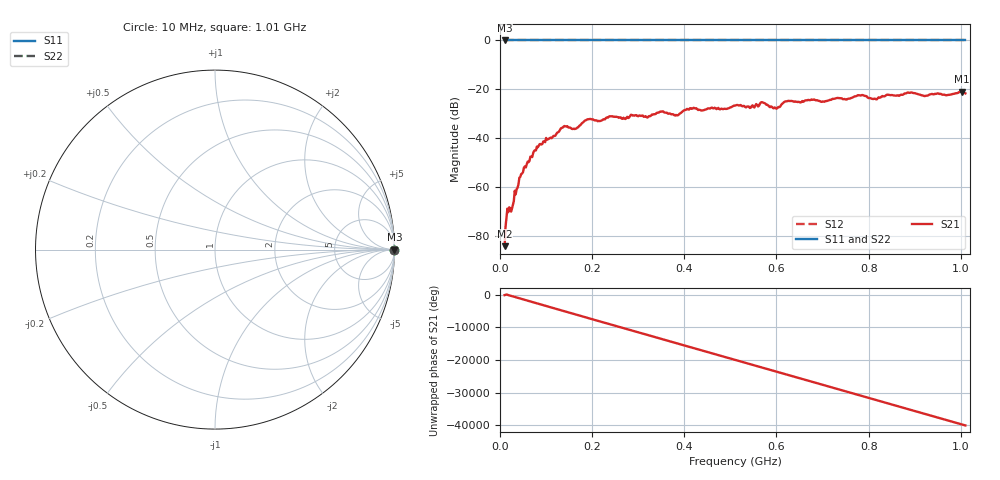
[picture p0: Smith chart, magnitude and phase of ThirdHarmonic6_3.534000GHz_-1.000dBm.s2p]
! 8/17/2025 11:37:29 AM
! C:\ANRITSUVNA\TEMP\TEMP.S2P
! CHANNEL.1
! TR.MEASUREMENT
! RAW.DATA
! RF.CORRECTION.OFF
! AVERAGING.OFF
! IF.BANDWIDTH: 5KHZ
! SWEEPTYPE:  FREQ.SWEEP(Linear)
! Reference Plane Port Info
! PORT:  PORT1  PORT2
! DISTANCE:  0  m  0  m
! TIME:  0  s  0  s
! PHASE.OFFSET:  0  deg.  0  deg.
! LOSS:  0  dB  0  dB
! REF.LOSS:  0  dB  0  dB
! REF.FREQ:  0  Hz  0  Hz
! Power Info
! POWER:  -20  dBm  -20  dBm
! EFF.POWER:  -20  dBm  -20  dBm
! SOURCE.ATTEN:  0  dB  0  dB
! TEST.ATTEN:  0  dB  0  dB
# GHZ S RI R 50.0
! FREQ.GHZ  S11RE  S11IM  S21RE  S21IM  S12RE  S12IM  S22RE  S22IM
!; PortSelection: Port_12
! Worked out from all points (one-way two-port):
!   501 points, 10 MHz to 1.01 GHz, reference 50 ohm
!   highest |S21| = -20.93 dB at 1.002 GHz (marker M1); lowest = -84.1 dB at 10 MHz (marker M2)
!   lowest |S11| = 0.0 dB at 10 MHz (marker M3)
!   |S11| at or under -10 dB: nowhere
!   |S22| runs from 0.0 to 0.0 dB; largest |S21 - S12| = 1.1
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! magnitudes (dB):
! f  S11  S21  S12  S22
! 10 MHz  0.0  -84.1  0.0  0.0
! 18 MHz  0.0  -70.2  0.0  0.0
! 26 MHz  0.0  -68.7  0.0  0.0
! 46 MHz  0.0  -54.6  0.0  0.0
! 76 MHz  0.0  -44.9  0.0  0.0
! 136 MHz  0.0  -35.6  0.0  0.0
! 162 MHz  0.0  -36.2  0.0  0.0
! 178 MHz  0.0  -33.8  0.0  0.0
! 192 MHz  0.0  -32.2  0.0  0.0
! 344 MHz  0.0  -29.5  0.0  0.0
! 382 MHz  0.0  -30.4  0.0  0.0
! 416 MHz  0.0  -27.9  0.0  0.0
! 510 MHz  0.0  -26.6  0.0  0.0
! 570 MHz  0.0  -25.3  0.0  0.0
! 598 MHz  0.0  -27.7  0.0  0.0
! 622 MHz  0.0  -24.9  0.0  0.0
! 678 MHz  0.0  -24.3  0.0  0.0
! 782 MHz  0.0  -22.5  0.0  0.0
! 814 MHz  0.0  -23.8  0.0  0.0
! 844 MHz  0.0  -22.3  0.0  0.0
! 1.002 GHz  0.0  -20.9  0.0  0.0
! 1.01 GHz  0.0  -21.6  0.0  0.0
